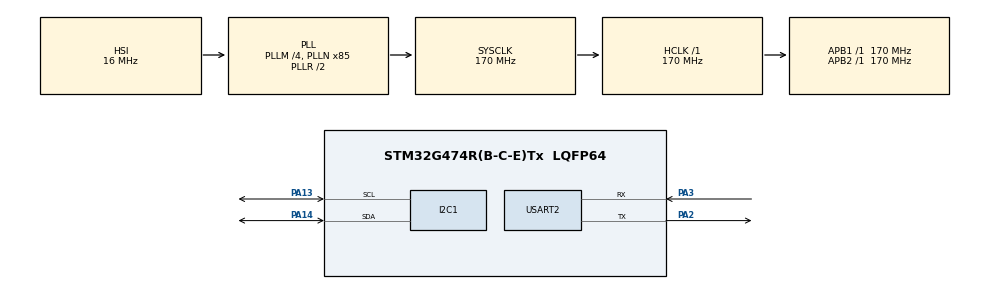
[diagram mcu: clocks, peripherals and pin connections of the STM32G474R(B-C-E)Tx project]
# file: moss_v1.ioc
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I2C1.Timing=0x40B285C2
Mcu.Family=STM32G4
Mcu.Name=STM32G474R(B-C-E)Tx
Mcu.Package=LQFP64
NVIC.PriorityGroup=NVIC_PRIORITYGROUP_4
PA13.Mode=I2C
PA13.Signal=I2C1_SCL
PA14.Mode=I2C
PA14.Signal=I2C1_SDA
PA2.Mode=Asynchronous
PA2.Signal=USART2_TX
PA3.Mode=Asynchronous
PA3.Signal=USART2_RX
ProjectManager.HeapSize=0x200
ProjectManager.StackSize=0x400
ProjectManager.TargetToolchain=CMake
RCC.ADC12Freq_Value=170000000
RCC.ADC345Freq_Value=170000000
RCC.AHBFreq_Value=170000000
RCC.APB1Freq_Value=170000000
RCC.APB1TimFreq_Value=170000000
RCC.APB2Freq_Value=170000000
RCC.APB2TimFreq_Value=170000000
RCC.CortexFreq_Value=170000000
RCC.EXTERNAL_CLOCK_VALUE=12288000
RCC.HCLKFreq_Value=170000000
RCC.HSE_VALUE=8000000
RCC.HSI48_VALUE=48000000
RCC.HSI_VALUE=16000000
RCC.LSE_VALUE=32768
RCC.PLLM=RCC_PLLM_DIV4
RCC.PLLN=85
RCC.SYSCLKFreq_VALUE=170000000
RCC.SYSCLKSource=RCC_SYSCLKSOURCE_PLLCLK
RCC.USBFreq_Value=170000000
RCC.VCOOutputFreq_Value=340000000
USART2.VirtualMode-Asynchronous=VM_ASYNC
VP_SYS_VS_DBSignals.Mode=DisableDeadBatterySignals
board=custom

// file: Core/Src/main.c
/* USER CODE BEGIN Header */
/**
  ******************************************************************************
  * @file           : main.c
  * @brief          : Main program body
  ******************************************************************************
  * @attention
  *
  * Copyright (c) 2025 STMicroelectronics.
  * All rights reserved.
  *
  * This software is licensed under terms that can be found in the LICENSE file
  * in the root directory of this software component.
  * If no LICENSE file comes with this software, it is provided AS-IS.
  *
  ******************************************************************************
  */
/* USER CODE END Header */
#include "main.h"

/* USER CODE BEGIN Includes */
#include <math.h>
#include "stm32g4xx_hal.h"
#include "stm32g474xx.h"
#include <stdio.h>
#include "controls.h"
#include "performance.h"
/* USER CODE END Includes */

I2C_HandleTypeDef hi2c1;

UART_HandleTypeDef huart2;

void SystemClock_Config(void);
static void MX_GPIO_Init(void);
static void MX_I2C1_Init(void);
static void MX_USART2_UART_Init(void);

int main(void)
{

  /* MCU Configuration--------------------------------------------------------*/

  /* Reset of all peripherals, Initializes the Flash interface and the Systick. */
  HAL_Init();

  /* Configure the system clock */
  SystemClock_Config();

  /* Initialize all configured peripherals */
  MX_GPIO_Init();
  MX_I2C1_Init();
  MX_USART2_UART_Init();
  /* USER CODE BEGIN 2 */
  cycle_counter_init();
  // GOAL: Just get computation working, can worry about interfaces & connecting to interface later
  // Example: 7200000m (7200km) to 9000000 (9000km)
  // Calculate: Average Time to Reach Target, Average Fuel Consumed, Simulation Execution Time
  uint32_t start = cycle_counter_get();
  //printf("start cycles = %lu\r\n", start);

  double r_current = 7200000.0; // 72000 km
  double r_target  = 9000000.0; // 9000 km
  printf("R Current: %f\n", r_current);
  printf("R Target: %f\n", r_target);

  execute_hohmann_transfer(r_current, r_target);
  uint32_t cycles = cycle_counter_get() - start;
  printf("cycles = %lu\r\n", cycles);

  //FILE* torque_file;
  //FILE* imu_file;

  //imu_file = fopen("../../../environment/imu_readings.csv", "r");
  //torque_file = fopen("../../../environment/torque_control.csv", "w");

  /* USER CODE END 2 */

  /* Infinite loop */
  /* USER CODE BEGIN WHILE */

  while (1)
  {
    //printf("Hello world!\r\n");
    /* USER CODE END WHILE */

  }
}

void SystemClock_Config(void)
{
  RCC_OscInitTypeDef RCC_OscInitStruct = {0};
  RCC_ClkInitTypeDef RCC_ClkInitStruct = {0};

  /** Configure the main internal regulator output voltage
  */
  HAL_PWREx_ControlVoltageScaling(PWR_REGULATOR_VOLTAGE_SCALE1_BOOST);

  /** Initializes the RCC Oscillators according to the specified parameters
  * in the RCC_OscInitTypeDef structure.
  */
  RCC_OscInitStruct.OscillatorType = RCC_OSCILLATORTYPE_HSI;
  RCC_OscInitStruct.HSIState = RCC_HSI_ON;
  RCC_OscInitStruct.HSICalibrationValue = RCC_HSICALIBRATION_DEFAULT;
  RCC_OscInitStruct.PLL.PLLState = RCC_PLL_ON;
  RCC_OscInitStruct.PLL.PLLSource = RCC_PLLSOURCE_HSI;
  RCC_OscInitStruct.PLL.PLLM = RCC_PLLM_DIV4;
  RCC_OscInitStruct.PLL.PLLN = 85;
  RCC_OscInitStruct.PLL.PLLP = RCC_PLLP_DIV2;
  RCC_OscInitStruct.PLL.PLLQ = RCC_PLLQ_DIV2;
  RCC_OscInitStruct.PLL.PLLR = RCC_PLLR_DIV2;
  if (HAL_RCC_OscConfig(&RCC_OscInitStruct) != HAL_OK)
  {
    Error_Handler();
  }

  /** Initializes the CPU, AHB and APB buses clocks
  */
  RCC_ClkInitStruct.ClockType = RCC_CLOCKTYPE_HCLK|RCC_CLOCKTYPE_SYSCLK
                              |RCC_CLOCKTYPE_PCLK1|RCC_CLOCKTYPE_PCLK2;
  RCC_ClkInitStruct.SYSCLKSource = RCC_SYSCLKSOURCE_PLLCLK;
  RCC_ClkInitStruct.AHBCLKDivider = RCC_SYSCLK_DIV1;
  RCC_ClkInitStruct.APB1CLKDivider = RCC_HCLK_DIV1;
  RCC_ClkInitStruct.APB2CLKDivider = RCC_HCLK_DIV1;

  if (HAL_RCC_ClockConfig(&RCC_ClkInitStruct, FLASH_LATENCY_4) != HAL_OK)
  {
    Error_Handler();
  }
}

static void MX_I2C1_Init(void)
{

  hi2c1.Instance = I2C1;
  hi2c1.Init.Timing = 0x40B285C2;
  hi2c1.Init.OwnAddress1 = 0;
  hi2c1.Init.AddressingMode = I2C_ADDRESSINGMODE_7BIT;
  hi2c1.Init.DualAddressMode = I2C_DUALADDRESS_DISABLE;
  hi2c1.Init.OwnAddress2 = 0;
  hi2c1.Init.OwnAddress2Masks = I2C_OA2_NOMASK;
  hi2c1.Init.GeneralCallMode = I2C_GENERALCALL_DISABLE;
  hi2c1.Init.NoStretchMode = I2C_NOSTRETCH_DISABLE;
  if (HAL_I2C_Init(&hi2c1) != HAL_OK)
  {
    Error_Handler();
  }

  /** Configure Analogue filter
  */
  if (HAL_I2CEx_ConfigAnalogFilter(&hi2c1, I2C_ANALOGFILTER_ENABLE) != HAL_OK)
  {
    Error_Handler();
  }

  /** Configure Digital filter
  */
  if (HAL_I2CEx_ConfigDigitalFilter(&hi2c1, 0) != HAL_OK)
  {
    Error_Handler();
  }

}

static void MX_USART2_UART_Init(void)
{

  huart2.Instance = USART2;
  huart2.Init.BaudRate = 115200;
  huart2.Init.WordLength = UART_WORDLENGTH_8B;
  huart2.Init.StopBits = UART_STOPBITS_1;
  huart2.Init.Parity = UART_PARITY_NONE;
  huart2.Init.Mode = UART_MODE_TX_RX;
  huart2.Init.HwFlowCtl = UART_HWCONTROL_NONE;
  huart2.Init.OverSampling = UART_OVERSAMPLING_16;
  huart2.Init.OneBitSampling = UART_ONE_BIT_SAMPLE_DISABLE;
  huart2.Init.ClockPrescaler = UART_PRESCALER_DIV1;
  huart2.AdvancedInit.AdvFeatureInit = UART_ADVFEATURE_NO_INIT;
  if (HAL_UART_Init(&huart2) != HAL_OK)
  {
    Error_Handler();
  }
  if (HAL_UARTEx_SetTxFifoThreshold(&huart2, UART_TXFIFO_THRESHOLD_1_8) != HAL_OK)
  {
    Error_Handler();
  }
  if (HAL_UARTEx_SetRxFifoThreshold(&huart2, UART_RXFIFO_THRESHOLD_1_8) != HAL_OK)
  {
    Error_Handler();
  }
  if (HAL_UARTEx_DisableFifoMode(&huart2) != HAL_OK)
  {
    Error_Handler();
  }

}

static void MX_GPIO_Init(void)
{

  /* GPIO Ports Clock Enable */
  __HAL_RCC_GPIOA_CLK_ENABLE();

}

/* USER CODE BEGIN 4 */
int _write(int file, char *ptr, int len)
{
    HAL_UART_Transmit(&huart2, (uint8_t *)ptr, len, HAL_MAX_DELAY);
    return len;
}

/* USER CODE END 4 */

void Error_Handler(void)
{
  __disable_irq();
  while (1)
  {
  }
}
